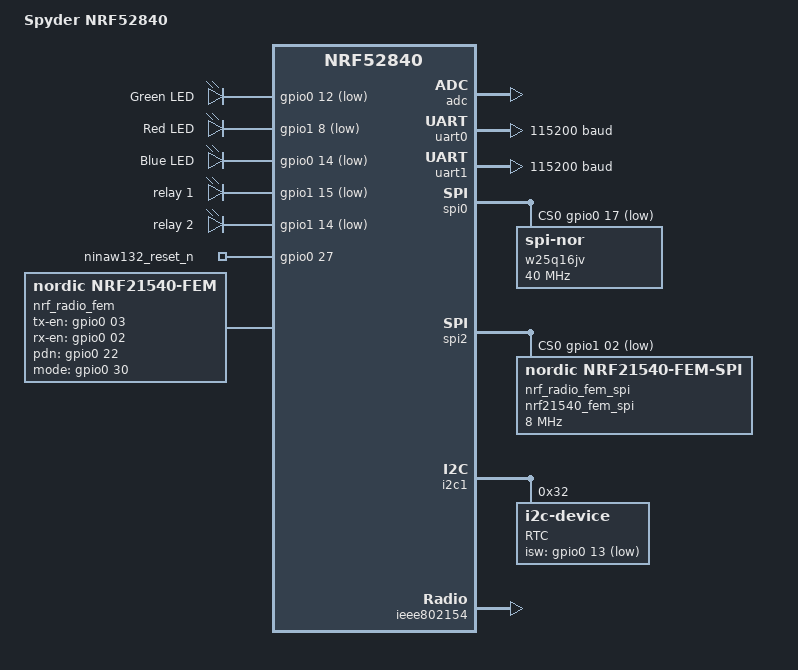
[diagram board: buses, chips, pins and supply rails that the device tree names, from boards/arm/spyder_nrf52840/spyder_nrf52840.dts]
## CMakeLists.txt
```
# SPDX-License-Identifier: Apache-2.0

cmake_minimum_required(VERSION 3.20.0)

find_package(Zephyr REQUIRED HINTS $ENV{ZEPHYR_BASE})
project(ublox_at_command)

target_sources(app PRIVATE
	src/main.c
	src/uart_async_port.c
	src/uart_bridge.c
	src/uart0_hmi.c
	src/ublox_transport.c
)
```

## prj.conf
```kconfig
CONFIG_SERIAL=y
CONFIG_UART_ASYNC_API=y
CONFIG_RING_BUFFER=y

CONFIG_USE_SEGGER_RTT=y
CONFIG_PRINTK=y
CONFIG_CONSOLE=y
CONFIG_UART_CONSOLE=n
CONFIG_RTT_CONSOLE=y
CONFIG_LOG=y
CONFIG_LOG_BACKEND_RTT=y
CONFIG_LOG_BACKEND_UART=n
CONFIG_LOG_PRINTK=y
```

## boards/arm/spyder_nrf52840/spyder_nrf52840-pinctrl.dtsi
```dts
/*
 * Copyright (c) 2022 Nordic Semiconductor
 * SPDX-License-Identifier: Apache-2.0
 */

&pinctrl {
	uart0_default: uart0_default {
		group1 {
			psels = <NRF_PSEL(UART_TX, 1, 9)>;
		};
		group2 {
			psels = <NRF_PSEL(UART_RX, 0, 11)>;
			bias-pull-up;
		};
	};

	uart0_sleep: uart0_sleep {
		group1 {
			psels = <NRF_PSEL(UART_TX, 1, 9)>,
			        <NRF_PSEL(UART_RX, 0, 11)>;
			low-power-enable;
		};
	};

	uart1_default: uart1_default {
		group1 {
			psels = <NRF_PSEL(UART_RX, 0, 8)>,
				<NRF_PSEL(UART_RTS, 0, 7)>;
			bias-pull-up;
		};
		group2 {
			psels = <NRF_PSEL(UART_TX, 0, 6)>,
			<NRF_PSEL(UART_CTS, 0, 5)>;
		};
	};

	uart1_sleep: uart1_sleep {
		group1 {
			psels = <NRF_PSEL(UART_RX, 0, 8)>,
					<NRF_PSEL(UART_TX, 0, 6)>,
					<NRF_PSEL(UART_RTS, 0, 7)>,
					<NRF_PSEL(UART_CTS, 0, 5)>;
			low-power-enable;
		};
	};

	i2c0_default: i2c0_default {
		group1 {
			psels = <NRF_PSEL(TWIM_SDA, 0, 26)>,
					<NRF_PSEL(TWIM_SCL, 0, 27)>;
		};
	};

	i2c0_sleep: i2c0_sleep {
		group1 {
			psels = <NRF_PSEL(TWIM_SDA, 0, 26)>,
					<NRF_PSEL(TWIM_SCL, 0, 27)>;
			low-power-enable;
		};
	};

	i2c1_default: i2c1_default {
		group1 {
			psels = <NRF_PSEL(TWIM_SDA, 0, 15)>,
					<NRF_PSEL(TWIM_SCL, 0, 24)>;
		};
	};

	i2c1_sleep: i2c1_sleep {
		group1 {
			psels = <NRF_PSEL(TWIM_SDA, 0, 15)>,
					<NRF_PSEL(TWIM_SCL, 0, 24)>;
			low-power-enable;
		};
	};


	spi0_default: spi0_default{
		group1 {
			psels = <NRF_PSEL(SPIM_SCK, 0, 19)>,
			        <NRF_PSEL(SPIM_MOSI, 0, 20)>,
			        <NRF_PSEL(SPIM_MISO, 0, 21)>;

		};
	};

	spi0_sleep: spi0_sleep {
		group1 {
			psels = <NRF_PSEL(SPIM_SCK, 0, 19)>,
			        <NRF_PSEL(SPIM_MOSI, 0, 20)>,
			        <NRF_PSEL(SPIM_MISO, 0, 21)>;
			low-power-enable;
		};
	};

	spi2_default: spi2_default{
		group1 {
			psels = <NRF_PSEL(SPIM_SCK, 1, 6)>,
			        <NRF_PSEL(SPIM_MOSI, 1, 5)>,
			        <NRF_PSEL(SPIM_MISO, 1, 4)>;
		};
	};

	spi2_sleep: spi2_sleep {
		group1 {
			psels = <NRF_PSEL(SPIM_SCK, 1, 6)>,
			        <NRF_PSEL(SPIM_MOSI, 1, 5)>,
			        <NRF_PSEL(SPIM_MISO, 1, 4)>;
			low-power-enable;
		};
	};

};
```

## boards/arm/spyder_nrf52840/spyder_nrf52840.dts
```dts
// Copyright (c) 2023 Nordic Semiconductor ASA
// SPDX-License-Identifier: Apache-2.0

/dts-v1/;
#include <nordic/nrf52840_qiaa.dtsi>
#include "spyder_nrf52840-pinctrl.dtsi"
#include <zephyr/dt-bindings/input/input-event-codes.h>

/ {
    model = "Spyder NRF52840";
    compatible = "assa-abloy,spyder-nrf52840";

    chosen {
        zephyr,console = &uart0;
        zephyr,shell-uart = &uart0;
        zephyr,uart-mcumgr = &uart0;
        zephyr,bt-mon-uart = &uart0;
        zephyr,bt-c2h-uart = &uart0;
        zephyr,sram = &sram0;
        zephyr,flash = &flash0;
        zephyr,code-partition = &slot0_partition;
        zephyr,ieee802154 = &ieee802154;
        nordic,pm-ext-flash = &w25q16jv;
    };

    leds {
        compatible = "gpio-leds";
        led_g: led_g {
            gpios = <&gpio0 12 GPIO_ACTIVE_LOW>;
            label = "Green LED";
        };
        led_r: led_r {
            gpios = <&gpio1 8 GPIO_ACTIVE_LOW>;
            label = "Red LED";
        };

        led_b: led_b {
            gpios = <&gpio0 14 GPIO_ACTIVE_LOW>;
            label = "Blue LED";
        };



        relay_1: relay_1{
			gpios = <&gpio1 15 GPIO_ACTIVE_LOW>;
			label = "relay 1";
		};

		relay_2: relay_2{
			gpios = <&gpio1 14 GPIO_ACTIVE_LOW>;
			label = "relay 2";
		};

        ninaw132_reset_n: ninaw132_reset_n{
			gpios = <&gpio0 27 GPIO_ACTIVE_HIGH>;
			label = "ninaw132_reset_n";
		};
    };

    buttons {
        compatible = "gpio-keys";

    };

    nrf_radio_fem: nrf21540_fem {
        compatible = "nordic,nrf21540-fem";
        tx-en-gpios = <&gpio0 03 GPIO_ACTIVE_HIGH>;
        rx-en-gpios = <&gpio0 02 GPIO_ACTIVE_HIGH>;
        pdn-gpios = <&gpio0 22 GPIO_ACTIVE_HIGH>;
        mode-gpios = <&gpio0 30 GPIO_ACTIVE_HIGH>;
        spi-if = <&fem_spi>;
    };

    /* These aliases are provided for compatibility with samples */
    aliases {
        ledr=&led_r;
        ledg=&led_g;
        ledb=&led_b;
        relay1 =&relay_1;
        relay2= &relay_2;
        watchdog0 = &wdt0;
        spi-flash0 = &w25q16jv;c
        ninaw132reset = &ninaw132_reset_n;
    };
};

&adc {
    status = "okay";
};

&uicr {
    gpio-as-nreset;
};

&gpiote {
    status = "okay";
};

&gpio0 {
    status = "okay";
};

&gpio1 {
    status = "okay";
};

&uart0 {
    compatible = "nordic,nrf-uarte";
    status = "okay";
    current-speed = <115200>;
    pinctrl-0 = <&uart0_default>;
    pinctrl-1 = <&uart0_sleep>;
    pinctrl-names = "default", "sleep";
};

&uart1 {
    compatible = "nordic,nrf-uarte";
    status = "okay";
    current-speed = <115200>;
    pinctrl-0 = <&uart1_default>;
    pinctrl-1 = <&uart1_sleep>;
    pinctrl-names = "default", "sleep";
    hw-flow-control;
};

&spi0 {
    compatible = "nordic,nrf-spim";
    /* Cannot be used together with i2c0. */
    status = "okay";
    pinctrl-0 = <&spi0_default>;
    pinctrl-1 = <&spi0_sleep>;
    pinctrl-names = "default", "sleep";
    cs-gpios = <&gpio0 17 GPIO_ACTIVE_LOW>;

    w25q16jv: w25q16jv@0 {
        compatible = "jedec,spi-nor";
        reg = <0>;
        spi-max-frequency = <40000000>;
        size = < 0x1000000 >;
        has-dpd;
        t-enter-dpd = < 3000 >;
        t-exit-dpd = < 30000 >;
        jedec-id = [ ef 70 15  ];
    };
};

fem_spi: &spi2 {
    status = "okay";
    cs-gpios = <&gpio1 02 GPIO_ACTIVE_LOW>;
    nrf_radio_fem_spi: nrf21540_fem_spi@0 {
        compatible = "nordic,nrf21540-fem-spi";
        status = "okay";
        reg = <0>;
        spi-max-frequency = <8000000>;
    };
};

&spi2 {
    compatible = "nordic,nrf-spi";
    status = "okay";
    pinctrl-0 = <&spi2_default>;
    pinctrl-1 = <&spi2_sleep>;
    pinctrl-names = "default", "sleep";
};

&i2c0 {
    status = "disabled";
};

&i2c1 {
    compatible = "nordic,nrf-twi";
    status = "okay";
    pinctrl-0 = <&i2c1_default>;
    pinctrl-1 = <&i2c1_sleep>;
    pinctrl-names = "default", "sleep";
    status = "okay";
    rx8130: rx8130@32 {
        compatible = "i2c-device";
        label = "RTC";
        reg = <0x32>;
        isw-gpios = <&gpio0 13 (GPIO_PULL_UP | GPIO_ACTIVE_LOW)>;
    };
};

&ieee802154 {
    status = "okay";
};


&flash0 {

    partitions {
        compatible = "fixed-partitions";
        #address-cells = <1>;
        #size-cells = <1>;

        boot_partition: partition@0 {
            label = "mcuboot";
            reg = <0x00000000 0x0000C000>;
        };
        slot0_partition: partition@c000 {
            label = "image-0";
            reg = <0x0000C000 0x00076000>;
        };
        slot1_partition: partition@82000 {
            label = "image-1";
            reg = <0x00082000 0x00076000>;
        };

        /*
         * The flash starting at 0x000f8000 and ending at
         * 0x000fffff is reserved for use by the application.
         */

        /*
         * Storage partition will be used by FCB/LittleFS/NVS
         * if enabled.
         */
        storage_partition: partition@f8000 {
            label = "storage";
            reg = <0x000f8000 0x00008000>;
        };
    };
};

zephyr_udc0: &usbd {
    compatible = "nordic,nrf-usbd";
    status = "disabled";
};
```

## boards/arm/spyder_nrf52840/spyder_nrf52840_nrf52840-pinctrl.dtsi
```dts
/*
 * Copyright (c) 2022 Nordic Semiconductor
 * SPDX-License-Identifier: Apache-2.0
 */

&pinctrl {
	uart0_default: uart0_default {
		group1 {
			psels = <NRF_PSEL(UART_TX, 1, 9)>;
		};
		group2 {
			psels = <NRF_PSEL(UART_RX, 0, 11)>;
			bias-pull-up;
		};
	};

	uart0_sleep: uart0_sleep {
		group1 {
			psels = <NRF_PSEL(UART_TX, 1, 9)>,
				<NRF_PSEL(UART_RX, 0, 11)>;
			low-power-enable;
		};
	};

	uart1_default: uart1_default {
		group1 {
			psels = <NRF_PSEL(UART_RX, 0, 8)>,
				<NRF_PSEL(UART_RTS, 0, 7)>;
			bias-pull-up;
		};
		group2 {
			psels = <NRF_PSEL(UART_TX, 0, 6)>,
				<NRF_PSEL(UART_CTS, 0, 5)>;
		};
	};

	uart1_sleep: uart1_sleep {
		group1 {
			psels = <NRF_PSEL(UART_RX, 0, 8)>,
				<NRF_PSEL(UART_TX, 0, 6)>,
				<NRF_PSEL(UART_RTS, 0, 7)>,
				<NRF_PSEL(UART_CTS, 0, 5)>;
			low-power-enable;
		};
	};

	i2c0_default: i2c0_default {
		group1 {
			psels = <NRF_PSEL(TWIM_SDA, 0, 26)>,
				<NRF_PSEL(TWIM_SCL, 0, 27)>;
		};
	};

	i2c0_sleep: i2c0_sleep {
		group1 {
			psels = <NRF_PSEL(TWIM_SDA, 0, 26)>,
				<NRF_PSEL(TWIM_SCL, 0, 27)>;
			low-power-enable;
		};
	};

	i2c1_default: i2c1_default {
		group1 {
			psels = <NRF_PSEL(TWIM_SDA, 0, 15)>,
				<NRF_PSEL(TWIM_SCL, 0, 24)>;
		};
	};

	i2c1_sleep: i2c1_sleep {
		group1 {
			psels = <NRF_PSEL(TWIM_SDA, 0, 15)>,
				<NRF_PSEL(TWIM_SCL, 0, 24)>;
			low-power-enable;
		};
	};

	spi0_default: spi0_default {
		group1 {
			psels = <NRF_PSEL(SPIM_SCK, 0, 19)>,
				<NRF_PSEL(SPIM_MOSI, 0, 20)>,
				<NRF_PSEL(SPIM_MISO, 0, 21)>;
		};
	};

	spi0_sleep: spi0_sleep {
		group1 {
			psels = <NRF_PSEL(SPIM_SCK, 0, 19)>,
				<NRF_PSEL(SPIM_MOSI, 0, 20)>,
				<NRF_PSEL(SPIM_MISO, 0, 21)>;
			low-power-enable;
		};
	};

	spi2_default: spi2_default {
		group1 {
			psels = <NRF_PSEL(SPIM_SCK, 1, 6)>,
				<NRF_PSEL(SPIM_MOSI, 1, 5)>,
				<NRF_PSEL(SPIM_MISO, 1, 4)>;
		};
	};

	spi2_sleep: spi2_sleep {
		group1 {
			psels = <NRF_PSEL(SPIM_SCK, 1, 6)>,
				<NRF_PSEL(SPIM_MOSI, 1, 5)>,
				<NRF_PSEL(SPIM_MISO, 1, 4)>;
			low-power-enable;
		};
	};
};
```

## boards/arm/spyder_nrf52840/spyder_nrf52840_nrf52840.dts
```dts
// Copyright (c) 2023 Nordic Semiconductor ASA
// SPDX-License-Identifier: Apache-2.0

/dts-v1/;
#include <nordic/nrf52840_qiaa.dtsi>
#include "spyder_nrf52840_nrf52840-pinctrl.dtsi"
#include <zephyr/dt-bindings/input/input-event-codes.h>

/ {
	model = "Spyder NRF52840";
	compatible = "assa-abloy,spyder-nrf52840";

	chosen {
		zephyr,console = &uart0;
		zephyr,shell-uart = &uart0;
		zephyr,uart-mcumgr = &uart0;
		zephyr,bt-mon-uart = &uart0;
		zephyr,bt-c2h-uart = &uart0;
		zephyr,sram = &sram0;
		zephyr,flash = &flash0;
		zephyr,code-partition = &slot0_partition;
		zephyr,ieee802154 = &ieee802154;
		nordic,pm-ext-flash = &w25q16jv;
	};

	leds {
		compatible = "gpio-leds";

		led_g: led_g {
			gpios = <&gpio0 12 GPIO_ACTIVE_LOW>;
			label = "Green LED";
		};

		led_r: led_r {
			gpios = <&gpio1 8 GPIO_ACTIVE_LOW>;
			label = "Red LED";
		};

		led_b: led_b {
			gpios = <&gpio0 14 GPIO_ACTIVE_LOW>;
			label = "Blue LED";
		};

		relay_1: relay_1 {
			gpios = <&gpio1 15 GPIO_ACTIVE_LOW>;
			label = "relay 1";
		};

		relay_2: relay_2 {
			gpios = <&gpio1 14 GPIO_ACTIVE_LOW>;
			label = "relay 2";
		};

		ninaw132_reset_n: ninaw132_reset_n {
			gpios = <&gpio0 27 GPIO_ACTIVE_HIGH>;
			label = "ninaw132_reset_n";
		};
	};

	buttons {
		compatible = "gpio-keys";
	};

	nrf_radio_fem: nrf21540_fem {
		compatible = "nordic,nrf21540-fem";
		tx-en-gpios = <&gpio0 03 GPIO_ACTIVE_HIGH>;
		rx-en-gpios = <&gpio0 02 GPIO_ACTIVE_HIGH>;
		pdn-gpios = <&gpio0 22 GPIO_ACTIVE_HIGH>;
		mode-gpios = <&gpio0 30 GPIO_ACTIVE_HIGH>;
		spi-if = <&fem_spi>;
	};

	/* These aliases are provided for compatibility with samples */
	aliases {
		ledr = &led_r;
		ledg = &led_g;
		ledb = &led_b;
		relay1 = &relay_1;
		relay2 = &relay_2;
		watchdog0 = &wdt0;
		spi-flash0 = &w25q16jv;
		ninaw132reset = &ninaw132_reset_n;
	};
};

&adc {
	status = "okay";
};

&uicr {
	gpio-as-nreset;
};

&gpiote {
	status = "okay";
};

&gpio0 {
	status = "okay";
};

&gpio1 {
	status = "okay";
};

&uart0 {
	compatible = "nordic,nrf-uarte";
	status = "okay";
	current-speed = <115200>;
	pinctrl-0 = <&uart0_default>;
	pinctrl-1 = <&uart0_sleep>;
	pinctrl-names = "default", "sleep";
};

&uart1 {
	compatible = "nordic,nrf-uarte";
	status = "okay";
	current-speed = <115200>;
	pinctrl-0 = <&uart1_default>;
	pinctrl-1 = <&uart1_sleep>;
	pinctrl-names = "default", "sleep";
	hw-flow-control;
};

&reg0 {
	status = "okay";
};

&reg1 {
	regulator-initial-mode = <NRF5X_REG_MODE_DCDC>;
};

&spi0 {
	compatible = "nordic,nrf-spim";
	/* Cannot be used together with i2c0. */
	status = "okay";
	pinctrl-0 = <&spi0_default>;
	pinctrl-1 = <&spi0_sleep>;
	pinctrl-names = "default", "sleep";
	cs-gpios = <&gpio0 17 GPIO_ACTIVE_LOW>;

	w25q16jv: w25q16jv@0 {
		compatible = "jedec,spi-nor";
		reg = <0>;
		spi-max-frequency = <40000000>;
		size = <0x1000000>;
		has-dpd;
		t-enter-dpd = <3000>;
		t-exit-dpd = <30000>;
		jedec-id = [ef 70 15];
	};
};

fem_spi: &spi2 {
	status = "okay";
	cs-gpios = <&gpio1 02 GPIO_ACTIVE_LOW>;

	nrf_radio_fem_spi: nrf21540_fem_spi@0 {
		compatible = "nordic,nrf21540-fem-spi";
		status = "okay";
		reg = <0>;
		spi-max-frequency = <8000000>;
	};
};

&spi2 {
	compatible = "nordic,nrf-spi";
	status = "okay";
	pinctrl-0 = <&spi2_default>;
	pinctrl-1 = <&spi2_sleep>;
	pinctrl-names = "default", "sleep";
};

&i2c0 {
	status = "disabled";
};

&i2c1 {
	compatible = "nordic,nrf-twi";
	status = "okay";
	pinctrl-0 = <&i2c1_default>;
	pinctrl-1 = <&i2c1_sleep>;
	pinctrl-names = "default", "sleep";

	rx8130: rx8130@32 {
		compatible = "i2c-device";
		label = "RTC";
		reg = <0x32>;
		isw-gpios = <&gpio0 13 (GPIO_PULL_UP | GPIO_ACTIVE_LOW)>;
	};
};

&ieee802154 {
	status = "okay";
};

&flash0 {
	partitions {
		compatible = "fixed-partitions";
		#address-cells = <1>;
		#size-cells = <1>;

		boot_partition: partition@0 {
			label = "mcuboot";
			reg = <0x00000000 0x0000C000>;
		};

		slot0_partition: partition@c000 {
			label = "image-0";
			reg = <0x0000C000 0x00076000>;
		};

		slot1_partition: partition@82000 {
			label = "image-1";
			reg = <0x00082000 0x00076000>;
		};

		storage_partition: partition@f8000 {
			label = "storage";
			reg = <0x000f8000 0x00008000>;
		};
	};
};

zephyr_udc0: &usbd {
	compatible = "nordic,nrf-usbd";
	status = "disabled";
};
```

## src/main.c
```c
#include "uart_bridge.h"

int main(void)
{
	return uart_bridge_start();
}
```

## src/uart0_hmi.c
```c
#include "uart0_hmi.h"

#include "uart_app_limits.h"

#include <ctype.h>
#include <errno.h>
#include <stdbool.h>
#include <stdint.h>
#include <string.h>
#include <zephyr/kernel.h>
#include <zephyr/sys/atomic.h>
#include <zephyr/sys/printk.h>

#define UART0_LINE_SIZE 192
#define UART0_TASK_STACK_SIZE 1536
#define UART0_TASK_PRIORITY 5

enum uart0_mode {
	UART0_MODE_CONTROL = 0,
	UART0_MODE_BRIDGE,
};

struct line_reader {
	char buf[UART0_LINE_SIZE];
	size_t len;
};

static const struct uart0_hmi_config *hmi_config;
static atomic_t active_mode = UART0_MODE_CONTROL;
static K_MUTEX_DEFINE(uart0_tx_mutex);
static K_THREAD_STACK_DEFINE(uart0_task_stack, UART0_TASK_STACK_SIZE);
static struct k_thread uart0_task_data;

static enum uart0_mode get_uart0_mode(void)
{
	return (enum uart0_mode)atomic_get(&active_mode);
}

static void set_uart0_mode(enum uart0_mode mode)
{
	atomic_set(&active_mode, mode);
}

bool uart0_hmi_bridge_mode_enabled(void)
{
	return get_uart0_mode() == UART0_MODE_BRIDGE;
}

void uart0_hmi_write_bytes(const uint8_t *buf, size_t len)
{
	k_mutex_lock(&uart0_tx_mutex, K_FOREVER);
	uart_async_port_write(hmi_config->port, buf, len);
	k_mutex_unlock(&uart0_tx_mutex);
}

void uart0_hmi_write_str(const char *str)
{
	uart0_hmi_write_bytes((const uint8_t *)str, strlen(str));
}

void uart0_hmi_write_response_line(const char *line)
{
	uart0_hmi_write_str(line);
	uart0_hmi_write_str("\r\n");
}

static void uart0_prompt(void)
{
	if (get_uart0_mode() == UART0_MODE_CONTROL) {
		uart0_hmi_write_str("\r\nctrl> ");
	}
}

static bool has_unsafe_at_string_char(const char *str)
{
	while (*str != '\0') {
		if (*str == '"') {
			return true;
		}
		str++;
	}

	return false;
}

static void echo_uart0_char(uint8_t ch)
{
	if (ch == '\r' || ch == '\n') {
		uart0_hmi_write_str("\r\n");
	} else if (ch == '\b' || ch == 0x7f) {
		uart0_hmi_write_str("\b \b");
	} else if (isprint(ch)) {
		uart0_hmi_write_bytes(&ch, 1);
	}
}

static void uart0_report_send_result(int err)
{
	if (err == 0) {
		return;
	}

	if (err == -EMSGSIZE) {
		uart0_hmi_write_str("Command is too long\r\n");
	} else if (err == -ENOMSG) {
		uart0_hmi_write_str("UART1 command queue is full\r\n");
	} else {
		char msg[48];

		snprintk(msg, sizeof(msg), "UART1 queue error: %d\r\n", err);
		uart0_hmi_write_str(msg);
	}
}

static char *skip_spaces(char *str)
{
	while (*str != '\0' && isspace((unsigned char)*str)) {
		str++;
	}

	return str;
}

static char *next_token(char **cursor)
{
	char *token = skip_spaces(*cursor);
	char *end;

	if (*token == '\0') {
		*cursor = token;
		return NULL;
	}

	end = token;
	while (*end != '\0' && !isspace((unsigned char)*end)) {
		end++;
	}

	if (*end != '\0') {
		*end = '\0';
		end++;
	}

	*cursor = end;
	return token;
}

static bool str_equal_ci(const char *left, const char *right)
{
	while (*left != '\0' && *right != '\0') {
		if (tolower((unsigned char)*left) != tolower((unsigned char)*right)) {
			return false;
		}

		left++;
		right++;
	}

	return *left == '\0' && *right == '\0';
}

static void control_help(void)
{
	uart0_hmi_write_str(
		"Commands:\r\n"
		"  help                     Show this list\r\n"
		"  bridge                   Enter AT bridge mode\r\n"
		"  at <AT command>          Send raw AT command to u-blox\r\n"
		"  scan                     AT+UWSCAN\r\n"
		"  status                   AT+UWSSTAT\r\n"
		"  connect <ssid> <pass>    Configure and activate station\r\n"
		"  disconnect               AT+UWSCA=0,4\r\n"
		"  ping <host>              AT+UPING=\"host\"\r\n"
		"  tcp <host> <port>        AT+UDCP=tcp://host:port\r\n"
		"  udp <host> <port>        AT+UDCP=udp://host:port\r\n"
		"  peers                    AT+UDLP?\r\n"
		"  close <handle>           AT+UDCPC=handle\r\n"
		"  server <port>            AT+UDSC=0,\"tcp://0.0.0.0:port\"\r\n"
		"  stop_server [id]         AT+UDSC=id,0\r\n");
}

static void send_formatted_at(char *buf, size_t buf_size, int len)
{
	if (len < 0 || (size_t)len >= buf_size) {
		uart0_hmi_write_str("Generated AT command is too long\r\n");
		return;
	}

	uart0_report_send_result(hmi_config->send_at_command(buf));
}

static void dispatch_control_command(char *line)
{
	char *cursor = line;
	char *cmd = next_token(&cursor);
	char at_command[UART_APP_MAX_AT_COMMAND_LEN + 1U];
	int len;

	if (cmd == NULL) {
		return;
	}

	if (str_equal_ci(cmd, "help") || str_equal_ci(cmd, "?")) {
		control_help();
	} else if (str_equal_ci(cmd, "bridge")) {
		set_uart0_mode(UART0_MODE_BRIDGE);
		uart0_hmi_write_str("Bridge mode. Type +++ and Enter to return to control mode.\r\n");
	} else if (str_equal_ci(cmd, "at")) {
		char *raw = skip_spaces(cursor);

		if (*raw == '\0') {
			uart0_hmi_write_str("Usage: at <AT command>\r\n");
			return;
		}

		uart0_report_send_result(hmi_config->send_at_command(raw));
	} else if (str_equal_ci(cmd, "scan")) {
		uart0_report_send_result(hmi_config->send_at_command("AT+UWSCAN"));
	} else if (str_equal_ci(cmd, "status")) {
		uart0_report_send_result(hmi_config->send_at_command("AT+UWSSTAT"));
	} else if (str_equal_ci(cmd, "connect")) {
		char *ssid = next_token(&cursor);
		char *pass = next_token(&cursor);

		if (ssid == NULL || pass == NULL) {
			uart0_hmi_write_str("Usage: connect <ssid> <password>\r\n");
			return;
		}

		if (has_unsafe_at_string_char(ssid) || has_unsafe_at_string_char(pass)) {
			uart0_hmi_write_str("SSID/password cannot contain double quotes\r\n");
			return;
		}

		len = snprintk(at_command, sizeof(at_command), "AT+UWSC=0,2,\"%s\"", ssid);
		send_formatted_at(at_command, sizeof(at_command), len);
		uart0_report_send_result(hmi_config->send_at_command("AT+UWSC=0,5,2"));
		len = snprintk(at_command, sizeof(at_command), "AT+UWSC=0,8,\"%s\"", pass);
		send_formatted_at(at_command, sizeof(at_command), len);
		uart0_report_send_result(hmi_config->send_at_command("AT+UWSCA=0,3"));
	} else if (str_equal_ci(cmd, "disconnect")) {
		uart0_report_send_result(hmi_config->send_at_command("AT+UWSCA=0,4"));
	} else if (str_equal_ci(cmd, "ping")) {
		char *host = next_token(&cursor);

		if (host == NULL) {
			uart0_hmi_write_str("Usage: ping <host>\r\n");
			return;
		}

		if (has_unsafe_at_string_char(host)) {
			uart0_hmi_write_str("Host cannot contain double quotes\r\n");
			return;
		}

		len = snprintk(at_command, sizeof(at_command), "AT+UPING=\"%s\"", host);
		send_formatted_at(at_command, sizeof(at_command), len);
	} else if (str_equal_ci(cmd, "tcp") || str_equal_ci(cmd, "udp")) {
		char *host = next_token(&cursor);
		char *port = next_token(&cursor);

		if (host == NULL || port == NULL) {
			uart0_hmi_write_str("Usage: tcp <host> <port> or udp <host> <port>\r\n");
			return;
		}

		len = snprintk(at_command, sizeof(at_command), "AT+UDCP=%s://%s:%s",
			       str_equal_ci(cmd, "tcp") ? "tcp" : "udp", host, port);
		send_formatted_at(at_command, sizeof(at_command), len);
	} else if (str_equal_ci(cmd, "peers")) {
		uart0_report_send_result(hmi_config->send_at_command("AT+UDLP?"));
	} else if (str_equal_ci(cmd, "close")) {
		char *handle = next_token(&cursor);

		if (handle == NULL) {
			uart0_hmi_write_str("Usage: close <handle>\r\n");
			return;
		}

		len = snprintk(at_command, sizeof(at_command), "AT+UDCPC=%s", handle);
		send_formatted_at(at_command, sizeof(at_command), len);
	} else if (str_equal_ci(cmd, "server")) {
		char *port = next_token(&cursor);

		if (port == NULL) {
			uart0_hmi_write_str("Usage: server <port>\r\n");
			return;
		}

		len = snprintk(at_command, sizeof(at_command), "AT+UDSC=0,\"tcp://0.0.0.0:%s\"",
			       port);
		send_formatted_at(at_command, sizeof(at_command), len);
	} else if (str_equal_ci(cmd, "stop_server")) {
		char *id = next_token(&cursor);

		if (id == NULL) {
			id = "0";
		}

		len = snprintk(at_command, sizeof(at_command), "AT+UDSC=%s,0", id);
		send_formatted_at(at_command, sizeof(at_command), len);
	} else {
		uart0_hmi_write_str("Unknown command. Type help.\r\n");
	}
}

static void finish_bridge_line(struct line_reader *reader)
{
	if (reader->len == 0U) {
		return;
	}

	reader->buf[reader->len] = '\0';

	if (strcmp(reader->buf, "+++") == 0 || str_equal_ci(reader->buf, "control")) {
		set_uart0_mode(UART0_MODE_CONTROL);
		uart0_hmi_write_str("Control mode.\r\n");
		reader->len = 0U;
		return;
	}

	uart0_report_send_result(
		hmi_config->send_bytes_to_ublox((const uint8_t *)reader->buf, reader->len));
	uart0_report_send_result(
		hmi_config->send_bytes_to_ublox((const uint8_t *)"\r\n", 2));
	reader->len = 0U;
}

static void line_reader_feed(struct line_reader *reader, uint8_t ch, bool bridge_mode)
{
	if (ch == '\r' || ch == '\n') {
		echo_uart0_char(ch);

		if (bridge_mode) {
			finish_bridge_line(reader);
		} else {
			reader->buf[reader->len] = '\0';
			dispatch_control_command(reader->buf);
			reader->len = 0U;
			uart0_prompt();
		}

		return;
	}

	if (ch == '\b' || ch == 0x7f) {
		if (reader->len > 0U) {
			reader->len--;
			echo_uart0_char(ch);
		}
		return;
	}

	if (reader->len >= (sizeof(reader->buf) - 1U)) {
		reader->len = 0U;
		uart0_hmi_write_str("\r\nInput line is too long\r\n");
		uart0_prompt();
		return;
	}

	reader->buf[reader->len++] = (char)ch;
	echo_uart0_char(ch);
}

static void uart0_task(void *p1, void *p2, void *p3)
{
	struct line_reader reader = { 0 };
	uint8_t data[64];
	uint32_t len;

	(void)p1;
	(void)p2;
	(void)p3;

	uart0_hmi_write_str("\r\nu-blox UART interface ready\r\n");
	control_help();
	uart0_prompt();

	while (1) {
		k_sem_take(hmi_config->port->rx_sem, K_FOREVER);

		do {
			len = uart_async_port_read(hmi_config->port, data, sizeof(data));

			for (uint32_t i = 0; i < len; i++) {
				line_reader_feed(&reader, data[i],
						 get_uart0_mode() == UART0_MODE_BRIDGE);
			}
		} while (len != 0U);
	}
}

int uart0_hmi_start(const struct uart0_hmi_config *config)
{
	k_tid_t tid;

	if (config == NULL || config->port == NULL || config->send_at_command == NULL ||
	    config->send_bytes_to_ublox == NULL) {
		return -EINVAL;
	}

	hmi_config = config;
	set_uart0_mode(UART0_MODE_CONTROL);

	tid = k_thread_create(&uart0_task_data, uart0_task_stack,
			      K_THREAD_STACK_SIZEOF(uart0_task_stack), uart0_task,
			      NULL, NULL, NULL, UART0_TASK_PRIORITY, 0, K_NO_WAIT);
	k_thread_name_set(tid, "uart0_hmi");

	return 0;
}
```

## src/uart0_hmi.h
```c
#ifndef UART0_HMI_H
#define UART0_HMI_H

#include "uart_async_port.h"

#include <stdbool.h>
#include <stddef.h>
#include <stdint.h>

struct uart0_hmi_config {
	struct uart_async_port *port;
	int (*send_at_command)(const char *command);
	int (*send_bytes_to_ublox)(const uint8_t *buf, size_t len);
};

int uart0_hmi_start(const struct uart0_hmi_config *config);
bool uart0_hmi_bridge_mode_enabled(void);
void uart0_hmi_write_bytes(const uint8_t *buf, size_t len);
void uart0_hmi_write_str(const char *str);
void uart0_hmi_write_response_line(const char *line);

#endif /* UART0_HMI_H */
```

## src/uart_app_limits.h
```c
#ifndef UART_APP_LIMITS_H
#define UART_APP_LIMITS_H

#define UART_APP_MAX_AT_COMMAND_LEN 254

#endif /* UART_APP_LIMITS_H */
```

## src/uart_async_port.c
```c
#include "uart_async_port.h"

#include <errno.h>
#include <zephyr/drivers/uart.h>
#include <zephyr/sys/printk.h>

#define RECEIVE_TIMEOUT_US 1000

static void uart_cb(const struct device *dev, struct uart_event *evt, void *user_data)
{
	struct uart_async_port *port = user_data;
	k_spinlock_key_t key;

	(void)dev;

	switch (evt->type) {
	case UART_RX_RDY:
		key = k_spin_lock(port->rx_lock);
		(void)ring_buf_put(port->rx_ring, evt->data.rx.buf + evt->data.rx.offset,
				   evt->data.rx.len);
		k_spin_unlock(port->rx_lock, key);
		k_sem_give(port->rx_sem);
		break;

	case UART_RX_DISABLED:
	case UART_RX_STOPPED:
		(void)uart_rx_enable(port->dev, port->rx_buf, port->rx_buf_size,
				     RECEIVE_TIMEOUT_US);
		break;

	default:
		break;
	}
}

int uart_async_port_start(struct uart_async_port *port)
{
	int err;

	if (!device_is_ready(port->dev)) {
		printk("%s is not ready\n", port->dev->name);
		return -ENODEV;
	}

	err = uart_callback_set(port->dev, uart_cb, port);
	if (err != 0) {
		printk("Failed to set callback for %s: %d\n", port->dev->name, err);
		return err;
	}

	err = uart_rx_enable(port->dev, port->rx_buf, port->rx_buf_size, RECEIVE_TIMEOUT_US);
	if (err != 0) {
		printk("Failed to enable RX for %s: %d\n", port->dev->name, err);
	}

	return err;
}

uint32_t uart_async_port_read(struct uart_async_port *port, uint8_t *buf, size_t len)
{
	uint32_t read_len;
	k_spinlock_key_t key;

	key = k_spin_lock(port->rx_lock);
	read_len = ring_buf_get(port->rx_ring, buf, len);
	k_spin_unlock(port->rx_lock, key);

	return read_len;
}

void uart_async_port_write(const struct uart_async_port *port, const uint8_t *buf, size_t len)
{
	for (size_t i = 0; i < len; i++) {
		uart_poll_out(port->dev, buf[i]);
	}
}
```

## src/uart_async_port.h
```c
#ifndef UART_ASYNC_PORT_H
#define UART_ASYNC_PORT_H

#include <stddef.h>
#include <stdint.h>
#include <zephyr/device.h>
#include <zephyr/kernel.h>
#include <zephyr/sys/ring_buffer.h>

struct uart_async_port {
	const struct device *dev;
	struct ring_buf *rx_ring;
	struct k_spinlock *rx_lock;
	struct k_sem *rx_sem;
	uint8_t *rx_buf;
	size_t rx_buf_size;
};

int uart_async_port_start(struct uart_async_port *port);
uint32_t uart_async_port_read(struct uart_async_port *port, uint8_t *buf, size_t len);
void uart_async_port_write(const struct uart_async_port *port, const uint8_t *buf, size_t len);

#endif /* UART_ASYNC_PORT_H */
```

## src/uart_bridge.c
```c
#include "uart_bridge.h"

#include "uart0_hmi.h"
#include "uart_async_port.h"
#include "ublox_transport.h"

#include <zephyr/device.h>
#include <zephyr/devicetree.h>
#include <zephyr/kernel.h>
#include <zephyr/sys/printk.h>
#include <zephyr/sys/ring_buffer.h>

#define UART0_DEVICE_NODE DT_NODELABEL(uart0)
#define UART1_DEVICE_NODE DT_NODELABEL(uart1)

#define RX_RING_SIZE 512
#define RX_BUF_SIZE 64

static const struct device *const uart0_dev = DEVICE_DT_GET(UART0_DEVICE_NODE);
static const struct device *const uart1_dev = DEVICE_DT_GET(UART1_DEVICE_NODE);

RING_BUF_DECLARE(uart0_rx_ring, RX_RING_SIZE);
RING_BUF_DECLARE(uart1_rx_ring, RX_RING_SIZE);

static struct k_spinlock uart0_rx_lock;
static struct k_spinlock uart1_rx_lock;
static K_SEM_DEFINE(uart0_rx_sem, 0, 1);
static K_SEM_DEFINE(uart1_rx_sem, 0, 1);

static uint8_t uart0_rx_buffer[RX_BUF_SIZE];
static uint8_t uart1_rx_buffer[RX_BUF_SIZE];

static struct uart_async_port uart0_port = {
	.dev = uart0_dev,
	.rx_ring = &uart0_rx_ring,
	.rx_lock = &uart0_rx_lock,
	.rx_sem = &uart0_rx_sem,
	.rx_buf = uart0_rx_buffer,
	.rx_buf_size = sizeof(uart0_rx_buffer),
};

static struct uart_async_port uart1_port = {
	.dev = uart1_dev,
	.rx_ring = &uart1_rx_ring,
	.rx_lock = &uart1_rx_lock,
	.rx_sem = &uart1_rx_sem,
	.rx_buf = uart1_rx_buffer,
	.rx_buf_size = sizeof(uart1_rx_buffer),
};

static const struct ublox_transport_config ublox_config = {
	.port = &uart1_port,
	.bridge_mode_enabled = uart0_hmi_bridge_mode_enabled,
	.hmi_write_bytes = uart0_hmi_write_bytes,
	.hmi_write_response_line = uart0_hmi_write_response_line,
};

static const struct uart0_hmi_config hmi_config = {
	.port = &uart0_port,
	.send_at_command = ublox_transport_send_at_command,
	.send_bytes_to_ublox = ublox_transport_send_bytes,
};

int uart_bridge_start(void)
{
	int err;

	err = uart_async_port_start(&uart0_port);
	if (err != 0) {
		return err;
	}

	err = uart_async_port_start(&uart1_port);
	if (err != 0) {
		return err;
	}

	err = uart0_hmi_start(&hmi_config);
	if (err != 0) {
		return err;
	}

	err = ublox_transport_start(&ublox_config);
	if (err != 0) {
		return err;
	}

	printk("UART0 HMI and UART1 u-blox tasks ready\n");
	return 0;
}
```

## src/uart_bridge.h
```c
#ifndef UART_BRIDGE_H
#define UART_BRIDGE_H

int uart_bridge_start(void);

#endif /* UART_BRIDGE_H */
```

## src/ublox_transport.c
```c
#include "ublox_transport.h"

#include "uart_app_limits.h"

#include <errno.h>
#include <stdint.h>
#include <string.h>
#include <zephyr/kernel.h>
#include <zephyr/logging/log.h>

LOG_MODULE_REGISTER(ublox_transport, LOG_LEVEL_INF);

#define UBLOX_TX_MSG_SIZE (UART_APP_MAX_AT_COMMAND_LEN + 2U)
#define UBLOX_TX_QUEUE_LEN 8
#define UBLOX_RESPONSE_LINE_SIZE 256
#define UBLOX_TASK_STACK_SIZE 1536
#define UBLOX_TASK_PRIORITY 5

struct ublox_tx_msg {
	uint16_t len;
	uint8_t data[UBLOX_TX_MSG_SIZE];
};

struct response_parser {
	char line[UBLOX_RESPONSE_LINE_SIZE];
	size_t len;
};

static const struct ublox_transport_config *transport_config;
K_MSGQ_DEFINE(ublox_tx_msgq, sizeof(struct ublox_tx_msg), UBLOX_TX_QUEUE_LEN, 4);
static K_SEM_DEFINE(ublox_work_sem, 0, 1);
static K_THREAD_STACK_DEFINE(ublox_task_stack, UBLOX_TASK_STACK_SIZE);
static struct k_thread ublox_task_data;

static int queue_tx_msg(const uint8_t *buf, size_t len)
{
	struct ublox_tx_msg msg = { 0 };
	int err;

	if (len > sizeof(msg.data)) {
		return -EMSGSIZE;
	}

	if (len != 0U) {
		memcpy(msg.data, buf, len);
	}
	msg.len = len;

	err = k_msgq_put(&ublox_tx_msgq, &msg, K_NO_WAIT);
	if (err == 0) {
		k_sem_give(&ublox_work_sem);
	}

	return err;
}

int ublox_transport_send_bytes(const uint8_t *buf, size_t len)
{
	if (buf == NULL && len != 0U) {
		return -EINVAL;
	}

	return queue_tx_msg(buf, len);
}

int ublox_transport_send_at_command(const char *command)
{
	struct ublox_tx_msg msg = { 0 };
	size_t len;
	int err;

	if (command == NULL) {
		return -EINVAL;
	}

	len = strlen(command);
	if ((len + 2U) > sizeof(msg.data)) {
		return -EMSGSIZE;
	}

	memcpy(msg.data, command, len);
	msg.data[len] = '\r';
	msg.data[len + 1U] = '\n';
	msg.len = len + 2U;

	err = k_msgq_put(&ublox_tx_msgq, &msg, K_NO_WAIT);
	if (err == 0) {
		k_sem_give(&ublox_work_sem);
	}

	return err;
}

static void process_response_line(const char *line)
{
	if (line[0] == '\0') {
		return;
	}

	if (strcmp(line, "OK") == 0) {
		LOG_DBG("u-blox response OK");
	} else if (strcmp(line, "ERROR") == 0 || strncmp(line, "+CME ERROR", 10) == 0) {
		LOG_WRN("u-blox error: %s", line);
	} else if (line[0] == '+') {
		LOG_INF("u-blox URC/response: %s", line);
	} else {
		LOG_DBG("u-blox response: %s", line);
	}

	transport_config->hmi_write_response_line(line);
}

static void response_parser_feed(struct response_parser *parser, const uint8_t *buf, size_t len)
{
	for (size_t i = 0; i < len; i++) {
		uint8_t ch = buf[i];

		if (ch == '\r') {
			continue;
		}

		if (ch == '\n') {
			parser->line[parser->len] = '\0';
			process_response_line(parser->line);
			parser->len = 0U;
			continue;
		}

		if (parser->len >= (sizeof(parser->line) - 1U)) {
			parser->line[parser->len] = '\0';
			process_response_line(parser->line);
			parser->len = 0U;
		}

		parser->line[parser->len++] = (char)ch;
	}
}

static void drain_tx(void)
{
	struct ublox_tx_msg msg;

	while (k_msgq_get(&ublox_tx_msgq, &msg, K_NO_WAIT) == 0) {
		uart_async_port_write(transport_config->port, msg.data, msg.len);
	}
}

static void drain_rx(struct response_parser *parser)
{
	uint8_t data[64];
	uint32_t len;

	do {
		len = uart_async_port_read(transport_config->port, data, sizeof(data));

		if (len == 0U) {
			continue;
		}

		if (transport_config->bridge_mode_enabled()) {
			transport_config->hmi_write_bytes(data, len);
		} else {
			response_parser_feed(parser, data, len);
		}
	} while (len != 0U);
}

static void ublox_task(void *p1, void *p2, void *p3)
{
	struct response_parser parser = { 0 };

	(void)p1;
	(void)p2;
	(void)p3;

	while (1) {
		k_sem_take(&ublox_work_sem, K_FOREVER);
		drain_tx();
		drain_rx(&parser);
	}
}

static void ublox_rx_wakeup_task(void *p1, void *p2, void *p3)
{
	(void)p1;
	(void)p2;
	(void)p3;

	while (1) {
		k_sem_take(transport_config->port->rx_sem, K_FOREVER);
		k_sem_give(&ublox_work_sem);
	}
}

static K_THREAD_STACK_DEFINE(ublox_rx_wakeup_stack, 512);
static struct k_thread ublox_rx_wakeup_task_data;

int ublox_transport_start(const struct ublox_transport_config *config)
{
	k_tid_t tid;

	if (config == NULL || config->port == NULL || config->bridge_mode_enabled == NULL ||
	    config->hmi_write_bytes == NULL || config->hmi_write_response_line == NULL) {
		return -EINVAL;
	}

	transport_config = config;

	tid = k_thread_create(&ublox_task_data, ublox_task_stack,
			      K_THREAD_STACK_SIZEOF(ublox_task_stack), ublox_task,
			      NULL, NULL, NULL, UBLOX_TASK_PRIORITY, 0, K_NO_WAIT);
	k_thread_name_set(tid, "uart1_ublox");

	tid = k_thread_create(&ublox_rx_wakeup_task_data, ublox_rx_wakeup_stack,
			      K_THREAD_STACK_SIZEOF(ublox_rx_wakeup_stack), ublox_rx_wakeup_task,
			      NULL, NULL, NULL, UBLOX_TASK_PRIORITY, 0, K_NO_WAIT);
	k_thread_name_set(tid, "uart1_rx_wakeup");

	return 0;
}
```

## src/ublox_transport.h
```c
#ifndef UBLOX_TRANSPORT_H
#define UBLOX_TRANSPORT_H

#include "uart_async_port.h"

#include <stdbool.h>
#include <stddef.h>
#include <stdint.h>

struct ublox_transport_config {
	struct uart_async_port *port;
	bool (*bridge_mode_enabled)(void);
	void (*hmi_write_bytes)(const uint8_t *buf, size_t len);
	void (*hmi_write_response_line)(const char *line);
};

int ublox_transport_start(const struct ublox_transport_config *config);
int ublox_transport_send_at_command(const char *command);
int ublox_transport_send_bytes(const uint8_t *buf, size_t len);

#endif /* UBLOX_TRANSPORT_H */
```
